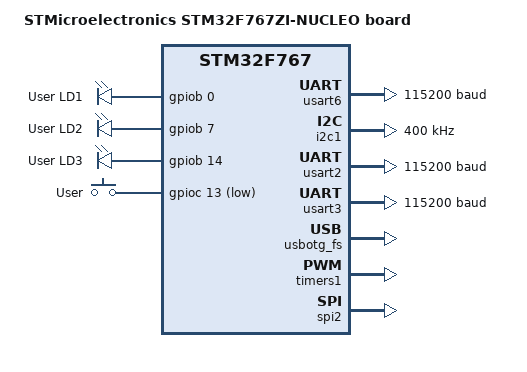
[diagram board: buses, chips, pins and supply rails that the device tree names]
/*
 * Copyright (c) 2019 Pascal Huerst
 *
 * SPDX-License-Identifier: Apache-2.0
 */

/dts-v1/;
#include <st/f7/stm32f767Xi.dtsi>

/ {
	model = "STMicroelectronics STM32F767ZI-NUCLEO board";
	compatible = "st,stm32f767zi-nucleo", "st,stm32f767";

	chosen {
		zephyr,console = &usart2;
		zephyr,shell-uart = &usart2;
		zephyr,sram = &sram0;
		zephyr,flash = &flash0;
	};



	leds {
		compatible = "gpio-leds";
		green_led_0: led_0 {
			gpios = <&gpiob 0 GPIO_INT_ACTIVE_HIGH>;
			label = "User LD1";
		};

		blue_led_0: led_1 {
			gpios = <&gpiob 7 GPIO_INT_ACTIVE_HIGH>;
			label = "User LD2";
		};

		red_led_0: led_2 {
			gpios = <&gpiob 14 GPIO_INT_ACTIVE_HIGH>;
			label = "User LD3";
		};
	};

	gpio_keys {
		compatible = "gpio-keys";
		user_button: button {
			label = "User";
			gpios = <&gpioc 13 GPIO_INT_ACTIVE_LOW>;
		};
	};

	aliases {
		led0 = &green_led_0;
		led1 = &blue_led_0;
		led2 = &red_led_0;
		sw0 = &user_button;
	};
};

arduino_serial: &usart6 {};
arduino_i2c: &i2c1 {};
arduino_spi: &spi1 {};

&usart2 {
	current-speed = <115200>;
	pinctrl-0 = <&usart2_pins_b>;
	pinctrl-names = "default";
	status = "ok";
};

&usart3 {
	current-speed = <115200>;
	pinctrl-0 = <&usart3_pins_b>;
	pinctrl-names = "default";
	status = "ok";
};

&usart6 {
	current-speed = <115200>;
	pinctrl-0 = <&usart6_pins_a>;
	pinctrl-names = "default";
	status = "ok";
};

&usbotg_fs {
	status = "ok";
};

&i2c1 {
	status = "ok";
	clock-frequency = <I2C_BITRATE_FAST>;
};

&timers1 {
	status = "ok";

	pwm {
		status = "ok";
	};
};

&spi2 {
	status = "ok";
};

&spi1 {
	/*
	 * WARNING: The pin PA7 will conflict on selection of SPI_1 and
	 *          ETH_STM32_HAL. See pinmux.c for further details.
	 */
/*	status = "ok";*/
};
